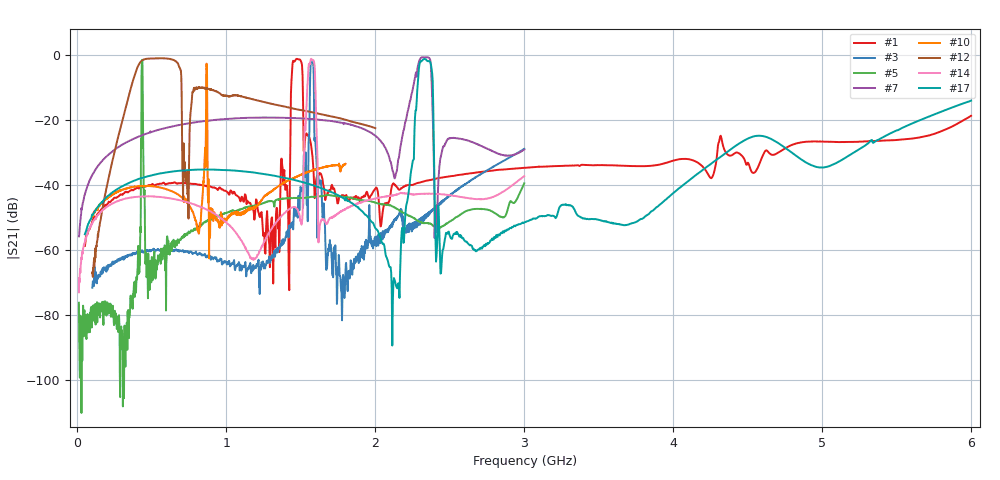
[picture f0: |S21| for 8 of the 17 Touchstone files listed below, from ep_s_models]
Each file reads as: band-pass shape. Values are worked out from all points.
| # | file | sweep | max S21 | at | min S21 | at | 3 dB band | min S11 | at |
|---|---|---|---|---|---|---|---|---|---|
| 1 | B1664_WB.s2p | 50 MHz to 6 GHz | -1.23 dB | 1.474 GHz | -72.4 dB | 1.422 GHz | 1.445 GHz-1.508 GHz | -27.2 dB | 1.474 GHz |
| 2 | B1669_WB.s2p | 50 MHz to 6 GHz | -1.65 dB | 2.322 GHz | -80.4 dB | 1.85 GHz | 2.292 GHz-2.367 GHz | -36.0 dB | 2.348 GHz |
| 3 | B3400_WB.s2p | 100 MHz to 3 GHz | -1.95 dB | 1.572 GHz | -81.7 dB | 1.777 GHz | 1.565 GHz-1.584 GHz | -22.3 dB | 1.583 GHz |
| 4 | B3401_WB.s2p | 100 MHz to 3 GHz | -1.15 dB | 1.601 GHz | -72.2 dB | 846.8 MHz | 1.554 GHz-1.624 GHz | -36.2 dB | 1.601 GHz |
| 5 | B3402_WB.s2p | 10 MHz to 3 GHz | -1.51 dB | 434.2 MHz | -110.2 dB | 26.82 MHz | 432.3 MHz-436.1 MHz | -30.8 dB | 436.1 MHz |
| 6 | B3403_WB.s2p | 10 MHz to 3 GHz | -1.15 dB | 314.6 MHz | -94.6 dB | 24.95 MHz | 310.9 MHz-316.5 MHz | -29.8 dB | 312.7 MHz |
| 7 | B3404_WB.s2p | 10 MHz to 3 GHz | -0.72 dB | 2.34 GHz | -56.4 dB | 2.398 GHz | 2.286 GHz-2.372 GHz | -43.4 dB | 2.357 GHz |
| 8 | B3407_WB.s2p | 500 MHz to 2 GHz | -1.20 dB | 923.8 MHz | -84.1 dB | 948.1 MHz | 913.4 MHz-931.2 MHz | -34.5 dB | 920.9 MHz |
| 9 | B3440_WB.s2p | 50 MHz to 2 GHz | -2.43 dB | 869 MHz | -67.5 dB | 811.7 MHz | 865.3 MHz-873.9 MHz | -24.9 dB | 866.6 MHz |
| 10 | B3441_WB.s2p | 100 MHz to 1.8 GHz | -2.70 dB | 867.1 MHz | -62.6 dB | 884.1 MHz | 865 MHz-869.2 MHz | -25.3 dB | 868.2 MHz |
| 11 | B3471_WB.s2p | 10 MHz to 4 GHz | -0.68 dB | 882.8 MHz | -118.6 dB | 10 MHz | 538.7 MHz-2.287 GHz | -47.9 dB | 708.2 MHz |
| 12 | B3473_WB.s2p | 100 MHz to 2 GHz | -1.01 dB | 560.8 MHz | -68.3 dB | 103.6 MHz | 401.6 MHz-687.8 MHz | -21.4 dB | 671.2 MHz |
| 13 | B3521_WB.s2p | 10 MHz to 4 GHz | -3.00 dB | 1.571 GHz | -110.6 dB | 109.8 MHz | 1.566 GHz-1.591 GHz | -17.1 dB | 1.571 GHz |
| 14 | B3522_WB.s2p | 10 MHz to 3 GHz | -1.22 dB | 1.57 GHz | -73.0 dB | 10 MHz | 1.552 GHz-1.593 GHz | -29.6 dB | 1.569 GHz |
| 15 | B3524_WB.s2p | 50 MHz to 4 GHz | -1.09 dB | 1.581 GHz | -62.5 dB | 52.47 MHz | 1.563 GHz-1.6 GHz | -37.0 dB | 1.571 GHz |
| 16 | B3529_WB.s2p | 10 MHz to 3 GHz | -1.54 dB | 1.595 GHz | -82.4 dB | 11.87 MHz | 1.582 GHz-1.615 GHz | -29.9 dB | 1.589 GHz |
| 17 | B3595_WB.s2p | 50 MHz to 6 GHz | -1.21 dB | 2.33 GHz | -89.4 dB | 2.114 GHz | 2.296 GHz-2.374 GHz | -28.0 dB | 2.33 GHz |
